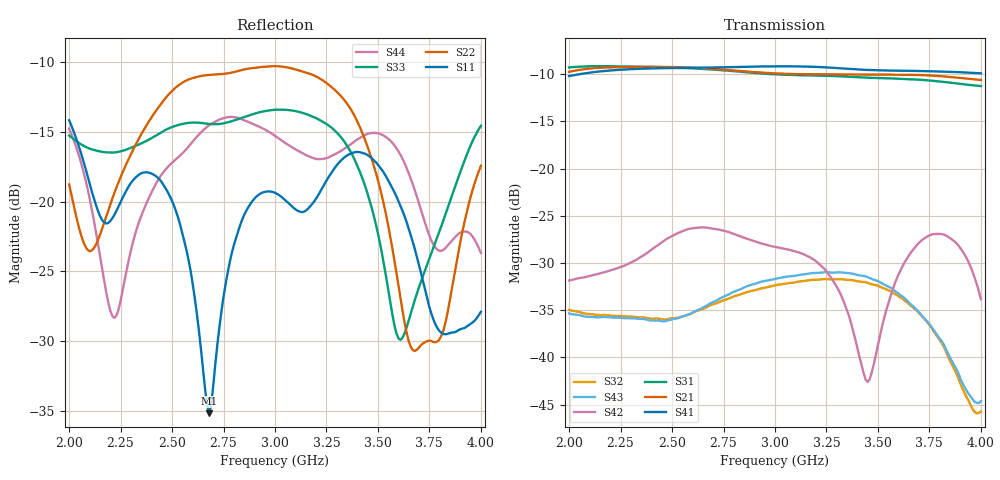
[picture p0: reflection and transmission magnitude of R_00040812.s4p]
!Agilent Technologies,N5224A,MY51441093,A.09.90.21
!Agilent N5224A: A.09.90.21
!Date: Friday, December 19, 2025 16:46:52
!Correction: S11(Full 4 Port(1,2,3,4))
!S12(Full 4 Port(1,2,3,4))
!S13(Full 4 Port(1,2,3,4))
!S14(Full 4 Port(1,2,3,4))
!S21(Full 4 Port(1,2,3,4))
!S22(Full 4 Port(1,2,3,4))
!S23(Full 4 Port(1,2,3,4))
!S24(Full 4 Port(1,2,3,4))
!S31(Full 4 Port(1,2,3,4))
!S32(Full 4 Port(1,2,3,4))
!S33(Full 4 Port(1,2,3,4))
!S34(Full 4 Port(1,2,3,4))
!S41(Full 4 Port(1,2,3,4))
!S42(Full 4 Port(1,2,3,4))
!S43(Full 4 Port(1,2,3,4))
!S44(Full 4 Port(1,2,3,4))
!S4P File: Measurements: <S11,S12,S13,S14>,
!<S21,S22,S23,S24>,
!<S31,S32,S33,S34>,
!<S41,S42,S43,S44>:
# Hz S  dB  R 50
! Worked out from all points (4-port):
!   201 points, 2 GHz to 4 GHz, reference 50 ohm
!   strongest paths, dB at 2 GHz, 2.5 GHz, 3 GHz, 3.5 GHz, 4 GHz:
!     S41: -10.2, -9.4, -9.2, -9.6, -9.9
!     S21: -9.8, -9.3, -9.9, -10.1, -10.6
!     S31: -9.3, -9.3, -10.0, -10.4, -11.3
!     S42: -31.9, -27.1, -28.3, -38.7, -33.8
!     S43: -35.3, -36.0, -31.7, -31.9, -44.6
!     S32: -35.0, -35.9, -32.4, -32.4, -45.7
!   lowest |S11| = -35.2 dB at 2.68 GHz (marker M1), VSWR 1.04, Z = 50.7 - j1.6 ohm
!   |S11| at or under -10 dB: start of sweep to end of sweep
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2e9  -14.19 -53.3  -9.73 31.3  -9.24 -169.6  -10.32 121.3
     -9.76 31.3  -18.78 97.0  -34.94 54.0  -31.99 -31.6
     -9.29 -169.5  -34.97 54.1  -15.28 4.8  -35.51 143.3
     -10.20 121.5  -31.86 -31.4  -35.34 143.4  -14.78 158.9
2.22e9  -20.95 -46.7  -9.26 -91.2  -9.12 78.9  -9.71 -2.9
        -9.27 -91.3  -19.37 -57.7  -35.56 -177.9  -30.80 156.4
        -9.18 79.0  -35.59 -177.7  -16.49 -54.8  -35.97 -88.5
        -9.58 -2.7  -30.65 156.6  -35.79 -88.5  -28.33 9.7
2.68e9  -35.16 -64.4  -9.39 28.5  -9.42 -151.9  -9.43 115.3
        -9.42 28.4  -10.94 179.0  -34.48 120.5  -26.44 -163.9
        -9.49 -151.8  -34.54 120.7  -14.45 -176.7  -34.52 -152.3
        -9.32 115.4  -26.30 -163.7  -34.35 -152.3  -14.55 -172.7
3.09e9  -20.45 -71.8  -9.95 -174.1  -10.02 5.6  -9.26 -89.6
        -9.99 -174.1  -10.51 99.3  -32.05 125.2  -28.85 -22.4
        -10.10 5.8  -32.09 125.5  -13.50 92.7  -31.52 -149.5
        -9.18 -89.3  -28.73 -22.2  -31.37 -149.6  -16.18 107.1
3.45e9  -16.67 -110.5  -10.02 10.7  -10.30 -173.1  -9.62 95.2
        -10.06 10.7  -16.09 14.8  -32.05 170.8  -42.69 -149.4
        -10.38 -172.8  -32.11 171.1  -19.45 -16.0  -31.65 -103.4
        -9.57 95.5  -42.60 -149.2  -31.51 -103.5  -15.16 67.9
3.61e9  -20.34 -144.0  -10.04 -67.6  -10.41 107.1  -9.68 19.1
        -10.07 -67.6  -26.97 1.5  -33.59 26.7  -30.83 -172.9
        -10.49 107.4  -33.65 27.1  -29.90 -138.9  -33.54 115.3
        -9.64 19.4  -30.77 -172.6  -33.41 115.3  -16.67 29.8
4e9  -27.90 -84.9  -10.58 100.3  -11.18 -88.6  -9.95 -167.9
     -10.63 100.5  -17.44 94.1  -45.65 -49.6  -33.89 -41.8
     -11.27 -88.0  -45.72 -49.2  -14.58 90.0  -44.73 41.9
     -9.92 -167.2  -33.81 -41.3  -44.64 41.9  -23.68 27.4
